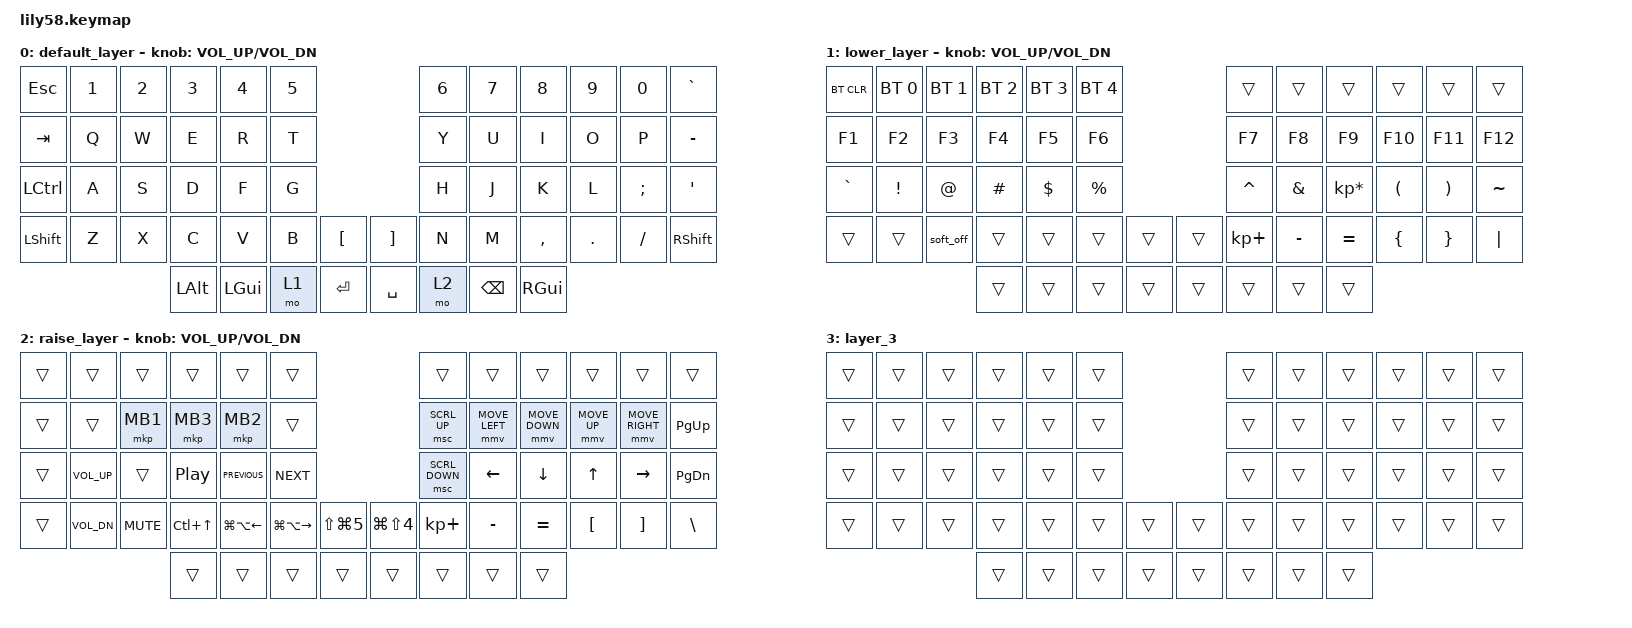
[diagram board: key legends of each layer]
/*
 * Copyright (c) 2020 The ZMK Contributors
 *
 * SPDX-License-Identifier: MIT
 */

#include <behaviors.dtsi>
#include <dt-bindings/zmk/bt.h>
#include <dt-bindings/zmk/keys.h>
#include <dt-bindings/zmk/pointing.h>

&soft_off {
    hold-time-ms = <3000>; // Only turn off it the key is held for 5 seconds or longer.
};

&soft_off { /delete-property/ split-peripheral-off-on-press; };

/ {
    keymap {
        compatible = "zmk,keymap";

        default_layer {
            // ------------------------------------------------------------------------------------------------------------
            // |  ESC  |  1  |  2  |  3   |  4   |  5   |                   |  6   |  7    |  8    |  9   |   0   |   `   |
            // |  TAB  |  Q  |  W  |  E   |  R   |  T   |                   |  Y   |  U    |  I    |  O   |   P   |   -   |
            // |  CTRL |  A  |  S  |  D   |  F   |  G   |                   |  H   |  J    |  K    |  L   |   ;   |   '   |
            // | SHIFT |  Z  |  X  |  C   |  V   |  B   |   "["  |  |  "]"  |  N   |  M    |  ,    |  .   |   /   | SHIFT |
            //                     | ALT  | GUI  | LOWER|  ENTER |  | SPACE | RAISE| BSPC  | GUI   |

            bindings = <
&kp ESC    &kp N1  &kp N2  &kp N3    &kp N4    &kp N5                         &kp N6  &kp N7    &kp N8     &kp N9   &kp N0    &kp GRAVE
&kp TAB    &kp Q   &kp W   &kp E     &kp R     &kp T                          &kp Y   &kp U     &kp I      &kp O    &kp P     &kp MINUS
&kp LCTRL  &kp A   &kp S   &kp D     &kp F     &kp G                          &kp H   &kp J     &kp K      &kp L    &kp SEMI  &kp SQT
&kp LSHFT  &kp Z   &kp X   &kp C     &kp V     &kp B   &kp LBKT    &kp RBKT   &kp N   &kp M     &kp COMMA  &kp DOT  &kp FSLH  &kp RSHFT
                           &kp LALT  &kp LGUI  &mo 1   &kp RET     &kp SPACE  &mo 2   &kp BSPC  &kp RGUI
            >;

            sensor-bindings = <&inc_dec_kp C_VOL_UP C_VOL_DN>;
        };

        lower_layer {
            // ------------------------------------------------------------------------------------------------------------
            // | BTCLR | BT1 | BT2 |  BT3 |  BT4 |  BT5 |                   |      |       |       |      |       |       |
            // |  F1   |  F2 |  F3 |  F4  |  F5  |  F6  |                   |  F7  |  F8   |  F9   |  F10 |  F11  |  F12  |
            // |   `   |  !  |  @  |  #   |  $   |  %   |                   |  ^   |  &    |  *    |  (   |   )   |   ~   |
            // |       |     |     |      |      |      |        |  |       |      |  _    |  +    |  {   |   }   |  "|"  |
            //                     |      |      |      |        |  |       |      |       |       |

            bindings = <
&bt BT_CLR  &bt BT_SEL 0  &bt BT_SEL 1  &bt BT_SEL 2  &bt BT_SEL 3  &bt BT_SEL 4                    &trans       &trans     &trans           &trans    &trans    &trans
&kp F1      &kp F2        &kp F3        &kp F4        &kp F5        &kp F6                          &kp F7       &kp F8     &kp F9           &kp F10   &kp F11   &kp F12
&kp GRAVE   &kp EXCL      &kp AT        &kp HASH      &kp DOLLAR    &kp PRCNT                       &kp CARET    &kp AMPS   &kp KP_MULTIPLY  &kp LPAR  &kp RPAR  &kp TILDE
&trans      &trans        &soft_off     &trans        &trans        &trans        &trans    &trans  &kp KP_PLUS  &kp MINUS  &kp EQUAL        &kp LBRC  &kp RBRC  &kp PIPE
                                        &trans        &trans        &trans        &trans    &trans  &trans       &trans     &trans
            >;

            sensor-bindings = <&inc_dec_kp C_VOL_UP C_VOL_DN>;
        };

        raise_layer {
            // ------------------------------------------------------------------------------------------------------------
            // |       |     |     |      |      |      |                   |      |       |       |      |       |       |
            // |   `   |  1  |  2  |  3   |  4   |  5   |                   |  6   |   7   |   8   |  9   |   0   |       |
            // |   F1  |  F2 |  F3 |  F4  |  F5  |  F6  |                   |      |   <-  |   v   |  ^   |  ->   |       |
            // |   F7  |  F8 |  F9 |  F10 |  F11 |  F12 |        |  |       |  +   |   -   |   =   |  [   |   ]   |   \   |
            //                     |      |      |      |        |  |       |      |       |       |

            bindings = <
&trans  &trans           &trans      &trans            &trans                  &trans                                                                 &trans          &trans          &trans          &trans        &trans           &trans
&trans  &trans           &mkp MB1    &mkp MB3          &mkp MB2                &trans                                                                 &msc SCRL_UP    &mmv MOVE_LEFT  &mmv MOVE_DOWN  &mmv MOVE_UP  &mmv MOVE_RIGHT  &kp PAGE_UP
&trans  &kp C_VOLUME_UP  &trans      &kp C_PLAY_PAUSE  &kp C_PREVIOUS          &kp C_NEXT                                                             &msc SCRL_DOWN  &kp LEFT        &kp DOWN        &kp UP        &kp RIGHT        &kp PAGE_DOWN
&trans  &kp C_VOL_DN     &kp C_MUTE  &kp LC(UP_ARROW)  &kp LG(LA(LEFT_ARROW))  &kp LG(LA(RIGHT_ARROW))  &kp LS(LG(NUMBER_5))    &kp LG(LS(NUMBER_4))  &kp KP_PLUS     &kp MINUS       &kp EQUAL       &kp LBKT      &kp RBKT         &kp BSLH
                                     &trans            &trans                  &trans                   &trans                  &trans                &trans          &trans          &trans
            >;

            sensor-bindings = <&inc_dec_kp C_VOL_UP C_VOL_DN>;
        };

        layer_3 {
            bindings = <
&trans  &trans  &trans  &trans  &trans  &trans                    &trans  &trans  &trans  &trans  &trans  &trans
&trans  &trans  &trans  &trans  &trans  &trans                    &trans  &trans  &trans  &trans  &trans  &trans
&trans  &trans  &trans  &trans  &trans  &trans                    &trans  &trans  &trans  &trans  &trans  &trans
&trans  &trans  &trans  &trans  &trans  &trans  &trans    &trans  &trans  &trans  &trans  &trans  &trans  &trans
                        &trans  &trans  &trans  &trans    &trans  &trans  &trans  &trans
            >;
        };
    };
};
